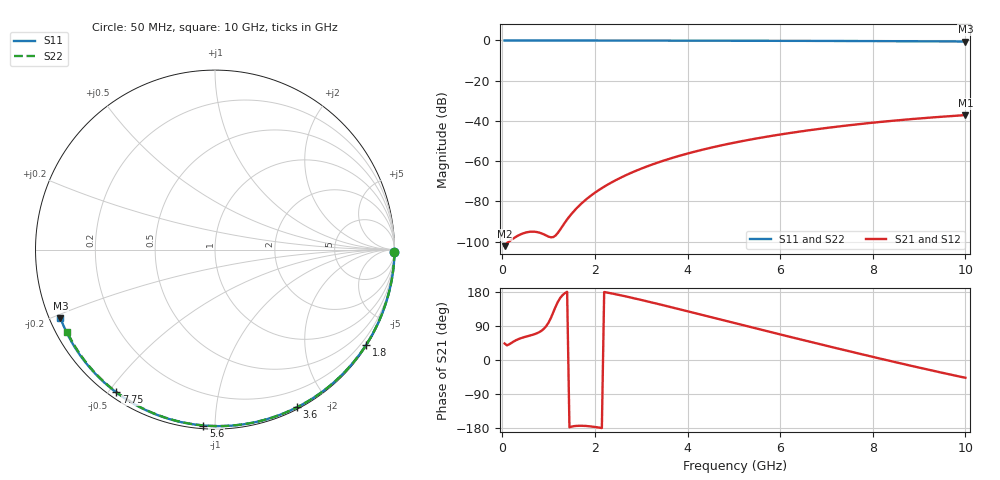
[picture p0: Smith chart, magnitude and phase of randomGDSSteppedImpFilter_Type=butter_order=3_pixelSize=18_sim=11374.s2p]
! freq	dB(S11)	phase(S11)	dB(S12)	phase(S12)
!  dB(S21)	phase(S21)	dB(S22)	phase(S22)
!S-par simulation data
#  GHz  S  DB  R 50
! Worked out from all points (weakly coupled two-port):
!   200 points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, 50 MHz to 10 GHz, reference 50 ohm
!   highest |S21| = -37.10 dB at 10 GHz (marker M1); lowest = -102.2 dB at 50 MHz (marker M2)
!   lowest |S11| = -0.5 dB at 10 GHz (marker M3), VSWR 33.47, Z = 1.56 - j10.6 ohm
!   |S11| at or under -10 dB: nowhere
!   |S22| runs from -0.5 to 0.0 dB; largest |S21 - S12| = 0
!   S11 on the Smith chart (normalised r, x): 50 MHz: open; 1.8 GHz: 0.03, -3.47; 3.6 GHz: 0.02, -1.65; 5.6 GHz: 0.02, -0.94; 7.75 GHz: 0.02, -0.52; 10 GHz: 0.03, -0.21
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0.05  -0.00 -0.9  -102.23 43.6  -102.23 43.6  -0.00 -0.9
0.45  -0.01 -8.2  -95.85 59.5  -95.85 59.5  -0.01 -7.8
0.85  -0.02 -15.4  -95.89 77.5  -95.89 77.5  -0.02 -14.7
1.3  -0.03 -23.4  -92.26 171.0  -92.26 171.0  -0.03 -22.3
1.75  -0.04 -31.3  -80.18 -173.7  -80.18 -173.7  -0.04 -29.9
1.8  -0.04 -32.2  -79.19 -174.0  -79.19 -174.0  -0.04 -30.7
1.95  -0.04 -34.8  -76.49 -175.9  -76.49 -175.9  -0.04 -33.3
2.1  -0.05 -37.4  -74.11 -178.5  -74.11 -178.5  -0.05 -35.7
2.3  -0.05 -40.8  -71.30 177.1  -71.30 177.1  -0.05 -39.0
2.5  -0.06 -44.2  -68.84 172.2  -68.84 172.2  -0.05 -42.3
2.9  -0.07 -51.0  -64.63 161.4  -64.63 161.4  -0.06 -48.8
3.4  -0.08 -59.3  -60.35 146.8  -60.35 146.8  -0.08 -56.8
3.6  -0.08 -62.6  -58.87 140.8  -58.87 140.8  -0.08 -60.0
4.3  -0.11 -73.8  -54.41 119.4  -54.41 119.4  -0.10 -70.8
5.05  -0.13 -85.5  -50.60 96.4  -50.60 96.4  -0.13 -82.1
5.6  -0.16 -93.8  -48.26 79.6  -48.26 79.6  -0.15 -90.1
6.15  -0.18 -101.9  -46.20 63.0  -46.20 63.0  -0.18 -98.0
6.7  -0.21 -109.8  -44.39 46.5  -44.39 46.5  -0.21 -105.7
7.75  -0.29 -124.7  -41.47 15.5  -41.47 15.5  -0.28 -120.2
8.35  -0.34 -133.0  -40.08 -1.8  -40.08 -1.8  -0.33 -128.4
9.2  -0.43 -144.9  -38.40 -25.6  -38.40 -25.6  -0.42 -139.9
10  -0.52 -156.1  -37.10 -46.9  -37.10 -46.9  -0.51 -150.9
